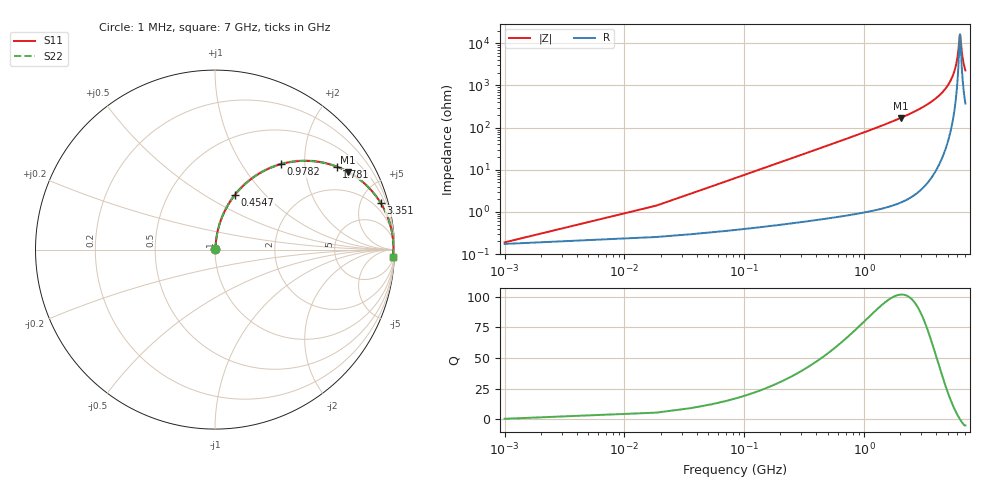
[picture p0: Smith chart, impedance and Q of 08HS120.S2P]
! Coilcraft 0805HS-120 Chip Inductor
! 13 June 2002
# MHZ S MA R 50
!Freq  MagS11  AngS11  MagS21  AngS21  MagS12  AngS12  MagS22  AngS22
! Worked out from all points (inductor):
!   403 points, 1 MHz to 7 GHz, reference 50 ohm
!   read as one part in series: L = 12 nH near 35.9 MHz
!   highest Q = 102 at 2.025 GHz (marker M1), where L = 13.4 nH
!   self-resonance near 6.3 GHz
!   S11 on the Smith chart (normalised r, x): 1 MHz: 1.00, +0.00; 454.7 MHz: 1.01, +0.69; 978.2 MHz: 1.02, +1.51; 1.781 GHz: 1.03, +2.92; 3.351 GHz: 1.09, +7.04; 7 GHz: 8, -45
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1  0.001897 23.3  0.9983 -0.0  0.9983 -0.0  0.001897 23.3
53.35  0.0402 83.0  0.9959 -2.3  0.9959 -2.3  0.0402 83.0
70.8  0.05324 83.1  0.9951 -3.0  0.9951 -3.0  0.05324 83.1
105.7  0.07925 82.6  0.9929 -4.5  0.9929 -4.5  0.07925 82.6
158.05  0.118 81.0  0.9885 -6.8  0.9885 -6.8  0.118 81.0
245.3  0.1813 77.9  0.9782 -10.4  0.9782 -10.4  0.1813 77.9
454.7  0.3239 70.0  0.9398 -18.9  0.9398 -18.9  0.3239 70.0
978.2  0.5993 52.5  0.793 -36.8  0.793 -36.8  0.5993 52.5
1170.15  0.6707 47.2  0.734 -42.1  0.734 -42.1  0.6707 47.2
1780.9  0.821 34.2  0.5627 -55.2  0.5627 -55.2  0.821 34.2
2025.2  0.8586 30.3  0.5044 -59.2  0.5044 -59.2  0.8586 30.3
2339.3  0.8948 26.0  0.4376 -63.5  0.4376 -63.5  0.8948 26.0
3351.4  0.9585 15.8  0.2724 -73.4  0.2724 -73.4  0.9585 15.8
3508.45  0.9641 14.6  0.2519 -74.6  0.2519 -74.6  0.9641 14.6
4677.6  0.9878 7.3  0.1263 -80.8  0.1263 -80.8  0.9878 7.3
5375.6  0.9928 3.9  0.06748 -82.0  0.06748 -82.0  0.9928 3.9
5846.75  0.994 1.8  0.03251 -78.5  0.03251 -78.5  0.994 1.8
6038.7  0.9941 1.1  0.01941 -71.8  0.01941 -71.8  0.9941 1.1
6265.55  0.9939 0.2  0.006816 -27.2  0.006816 -27.2  0.9939 0.2
6317.9  0.9939 -0.0  0.006134 3.1  0.006134 3.1  0.9939 -0.0
6632  0.9932 -1.2  0.02161 71.0  0.02161 71.0  0.9932 -1.2
7000  0.9919 -2.5  0.0437 78.1  0.0437 78.1  0.9919 -2.5
